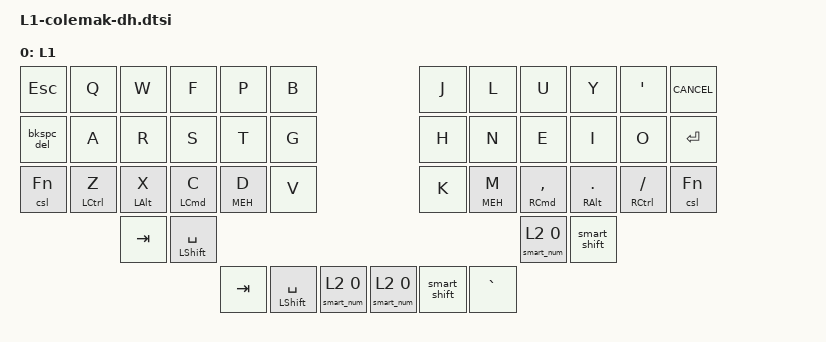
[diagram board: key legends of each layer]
/ {
  keymap {
    compatible = "zmk,keymap";

    layer_1 {
      label = "L1";
      bindings = <
      
// ╭───────────────┬───────────────┬───────────────┬───────────────┬───────────────┬───────────────╮                                                    ╭───────────────┬───────────────┬───────────────┬───────────────┬───────────────┬───────────────╮
    &kp ESC         &kp Q           &kp W           &kp F           &kp P           &kp B                                                                &kp J           &kp L           &kp U           &kp Y           &kp SQT         &kp K_CANCEL
// ├───────────────┼───────────────┼───────────────┼───────────────┼───────────────┼───────────────┤                                                    ├───────────────┼───────────────┼───────────────┼───────────────┼───────────────┼───────────────┤
    &bkspc_del      &kp A           &kp R           &kp S           &kp T           &kp G                                                                &kp H           &kp N           &kp E           &kp I           &kp O           &kp ENTER
// ├───────────────┼───────────────┼───────────────┼───────────────┼───────────────┼───────────────┤                                                    ├───────────────┼───────────────┼───────────────┼───────────────┼───────────────┼───────────────┤
    &csl Fn         &mt LCTRL Z     &mt LALT X      &mt LCMD C      &mt MEH D       &kp V                                                                &kp K           &mt MEH M       &mt RCMD COMMA  &mt RALT DOT   &mt RCTRL SLASH  &csl Fn
// ╰───────────────┴───────────────┼───────────────┼───────────────┼───────────────┴───────────────╯                                                    ╰───────────────┴───────────────┼───────────────┼───────────────┼───────────────┴───────────────╯
                                    &kp TAB         &mt LSHFT SPACE                                                                                                                      &smart_num L2 0 &smart_shift
//                                 ╰───────────────┴───────────────╯                                                                                                                    ╰───────────────┴───────────────╯
//                                                                         ╭───────────────┬───────────────┬───────────────╮    ╭───────────────┬───────────────┬───────────────╮
                                                                            &kp TAB         &mt LSHFT SPACE &smart_num L2 0      &smart_num L2 0 &smart_shift    &kp GRAVE
//                                                                         ╰───────────────┴───────────────┴───────────────╯    ╰───────────────┴───────────────┴───────────────╯
      >;
    };
  };
};
